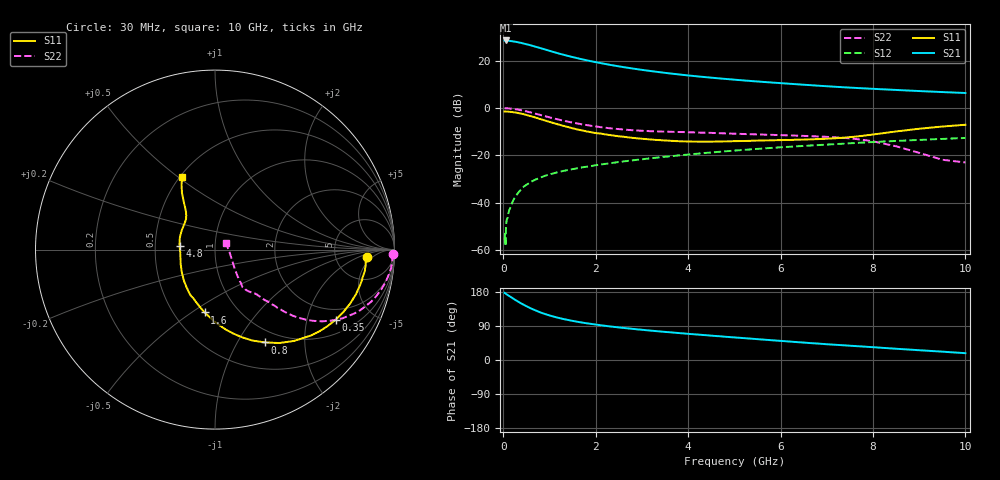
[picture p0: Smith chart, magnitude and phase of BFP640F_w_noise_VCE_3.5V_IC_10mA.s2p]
! Infineon Technologies  Discrete & RF Semiconductors
! BFP640F
! VCE =  3.5 V,  IC =  10 mA
! Common Emitter S-Parameters:  Apr 2013
# GHz  S  MA  R  50
!  f  S11  S21  S12  S22
! GHz  MAG  ANG  MAG  ANG  MAG  ANG  MAG  ANG
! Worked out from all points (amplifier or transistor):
!   99 points, 30 MHz to 10 GHz, reference 50 ohm
!   highest |S21| = 28.6 dB at 50 MHz (marker M1)
!   |S21| within 3 dB of that: start of sweep to 762.7 MHz
!   unconditionally stable (mu >= 1): 3.048 GHz to end of sweep
!   at 350 MHz: K = 0.20, MSG = 31.4 dB, |S12| = -35.1 dB
!   at 3.5 GHz: K = 1.03, MAG = 16.8 dB, |S12| = -20.6 dB
!   at 10 GHz: K = 1.07, MAG = 7.9 dB, |S12| = -12.6 dB
!   lowest NFmin = 0.63 dB at 450 MHz
!   S11 on the Smith chart (normalised r, x): 30 MHz: 11, -3; 350 MHz: 1.52, -3.00; 800 MHz: 0.83, -1.31; 1.6 GHz: 0.70, -0.56; 4.8 GHz: 0.67, +0.03; 10 GHz: 0.51, +0.52
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0.03  0.8478 -2.6  26.68 177.1  0.0016 80.1  0.9908 -1.5
0.05  0.8429 -4.4  26.98 175.6  0.0012 84.2  0.988 -2.6
0.07  0.8444 -6.2  26.84 173.7  0.004 77.1  0.9898 -3.7
0.12  0.8365 -10.8  26.67 169.7  0.0064 86.0  0.9838 -6.6
0.2  0.8237 -17.7  25.92 163.3  0.0103 79.2  0.9675 -10.9
0.35  0.7773 -30.2  24.34 152.1  0.0175 76.3  0.9178 -18.4
0.45  0.7391 -38.0  23.08 145.3  0.0221 73.2  0.8762 -22.7
0.6  0.6732 -49.1  21.23 136.0  0.0275 68.9  0.8072 -28.3
0.8  0.5861 -61.9  18.66 125.7  0.0338 65.4  0.7184 -33.8
1  0.5118 -72.8  16.31 117.7  0.0395 62.6  0.638 -37.7
1.2  0.4495 -82.3  14.31 111.1  0.0445 60.9  0.5712 -40.3
1.4  0.3977 -91.1  12.7 105.7  0.0489 59.8  0.5165 -41.9
1.6  0.3545 -99.3  11.4 101.0  0.0533 59.0  0.4744 -43.0
1.7  0.3382 -103.0  10.82 99.0  0.0555 58.6  0.454 -43.3
2  0.2968 -113.9  9.381 93.6  0.0619 57.7  0.4104 -44.6
2.4  0.2617 -127.6  7.945 87.4  0.0701 57.0  0.3667 -46.2
3.4  0.2096 -155.3  5.727 75.3  0.0912 54.6  0.3195 -48.8
4.8  0.1976 174.7  4.151 61.4  0.1217 50.0  0.2919 -51.7
5.1  0.2006 169.6  3.922 58.7  0.1281 48.9  0.2856 -52.2
6.7  0.2189 143.3  3.033 44.2  0.1627 41.7  0.2539 -53.5
8.5  0.3206 123.0  2.421 29.7  0.2022 33.0  0.156 -44.7
10  0.4445 114.2  2.087 18.0  0.2338 25.1  0.0708 32.5
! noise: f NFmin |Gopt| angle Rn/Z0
0.45  0.63  0.2  7  0.06
0.9  0.63  0.19  19  0.06
1.5  0.65  0.18  28  0.07
1.9  0.67  0.17  43  0.08
2.4  0.7  0.15  55  0.08
3.5  0.79  0.12  85  0.1
5.5  0.99  0.13  -177  0.13
10  1.54  0.4  -98  0.34
